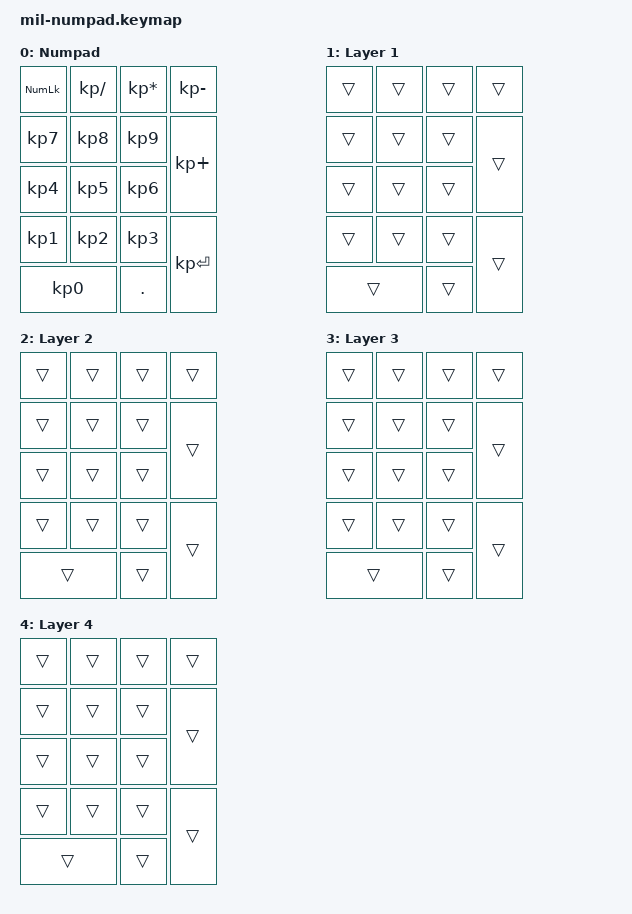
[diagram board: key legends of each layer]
#include <behaviors.dtsi>
#include <dt-bindings/zmk/keys.h>
#include <dt-bindings/zmk/bt.h>

/ {
    /*
     * Combos:
     *
     *   0 + .                  -> studio_unlock (öppna ZMK Studio)
     *   NumLock + 0 + Enter    -> bootloader   (tvinga DFU-läge utan RST-pinnar)
     *
     * Position-ordningen är visuell, 0-indexerad:
     *   0=NumLock 1=/ 2=* 3=-  4=7 5=8 6=9 7=+
     *   8=4 9=5 10=6  11=1 12=2 13=3 14=Enter  15=0 16=.
     */
    combos {
        compatible = "zmk,combos";

        combo_studio_unlock {
            timeout-ms = <75>;
            key-positions = <15 16>;
            bindings = <&studio_unlock>;
        };

        combo_bootloader {
            timeout-ms = <100>;
            key-positions = <0 14 15>;
            bindings = <&bootloader>;
        };
    };

    keymap {
        compatible = "zmk,keymap";

        default_layer {
            display-name = "Numpad";
            // ----------------------------------------------------------
            // | NumLk |   /   |   *   |   -   |
            // |   7   |   8   |   9   |       |
            // |   4   |   5   |   6   |   +   |
            // |   1   |   2   |   3   |       |
            // |     0 (2u)    |   .   | Enter |
            // ----------------------------------------------------------
            bindings = <
                &kp KP_NUMLOCK  &kp KP_SLASH  &kp KP_MULTIPLY  &kp KP_MINUS
                &kp KP_N7       &kp KP_N8     &kp KP_N9        &kp KP_PLUS
                &kp KP_N4       &kp KP_N5     &kp KP_N6
                &kp KP_N1       &kp KP_N2     &kp KP_N3        &kp KP_ENTER
                &kp KP_N0                     &kp DOT
            >;
        };

        // Tomma layers redo att konfigureras i ZMK Studio.
        // &trans = "transparent" -> faller igenom till lägre layer.
        // Byt ut till valfri bindning via Studio.

        layer_1 {
            display-name = "Layer 1";
            bindings = <
                &trans  &trans  &trans  &trans
                &trans  &trans  &trans  &trans
                &trans  &trans  &trans
                &trans  &trans  &trans  &trans
                &trans          &trans
            >;
        };

        layer_2 {
            display-name = "Layer 2";
            bindings = <
                &trans  &trans  &trans  &trans
                &trans  &trans  &trans  &trans
                &trans  &trans  &trans
                &trans  &trans  &trans  &trans
                &trans          &trans
            >;
        };

        layer_3 {
            display-name = "Layer 3";
            bindings = <
                &trans  &trans  &trans  &trans
                &trans  &trans  &trans  &trans
                &trans  &trans  &trans
                &trans  &trans  &trans  &trans
                &trans          &trans
            >;
        };

        layer_4 {
            display-name = "Layer 4";
            bindings = <
                &trans  &trans  &trans  &trans
                &trans  &trans  &trans  &trans
                &trans  &trans  &trans
                &trans  &trans  &trans  &trans
                &trans          &trans
            >;
        };
    };
};
